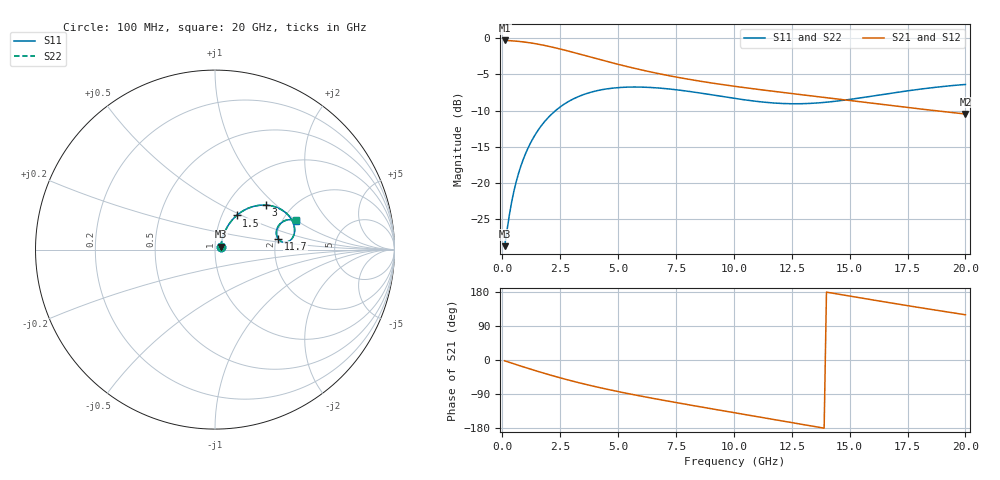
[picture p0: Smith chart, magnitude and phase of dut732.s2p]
! Touchstone file exported from HFSS 2024.1.0
!  File:  C:/UserFiles/LocalFiles/RDL_TSV_Batchsim/temp_RDL_TSV_732_1779893474.aedt
!  Generated:  11:07:30 PM May 27, 2026
!  Design:  RDL_TSV
!  Project:  temp_RDL_TSV_732_1779893474
!  Setup:  Setup1
!  Solution:  Sweep
! Variables:
!  dtsv = 6.09um
!  hbump = 3um
!  htsv = 53.31um
!  ldown = 614.92um
!  lrdl = 503.59um
!  p = 40
!  p1 = 53.52um
!  rhole = 10um
!  subl = 3859.12um
!  t = 450um
!  tdown = 3.51um
!  trdl = 3.45um
!  viad = 10um
!  wdown = 13.31um
!  wrdl = 10.98um
!  xbump = 18um
# GHz S MA R 50.000000
! Terminal data exported
! Port[1] = TM1_1_T1
! Port[2] = TM1_4_T1
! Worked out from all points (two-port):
!   200 points, 100 MHz to 20 GHz, reference 50 ohm
!   highest |S21| = -0.29 dB at 100 MHz (marker M1); lowest = -10.5 dB at 20 GHz (marker M2)
!   |S21| within 3 dB of the highest: start of sweep to 4.634 GHz
!   lowest |S11| = -28.8 dB at 100 MHz (marker M3), VSWR 1.08, Z = 53.4 + j1.67 ohm
!   |S11| at or under -10 dB: start of sweep to 2.299 GHz
!   |S22| runs from -28.8 to -6.4 dB; largest |S21 - S12| = 1.5e-14
!   S11 on the Smith chart (normalised r, x): 100 MHz: 1.07, +0.03; 1.5 GHz: 1.17, +0.47; 3 GHz: 1.49, +0.86; 11.7 GHz: 2.06, +0.28; 20 GHz: 2.36, +0.99
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0.1  0.03645 25.3  0.9672 -2.0  0.9672 -2.0  0.03645 25.3
! Gamma 0 0 0 0
! Port Impedance 50 0 50 0
0.3  0.05924 50.9  0.9645 -6.1  0.9645 -6.1  0.05924 50.9
0.4  0.07308 56.0  0.9623 -8.1  0.9623 -8.1  0.07308 56.0
0.5  0.08733 58.9  0.9596 -10.1  0.9596 -10.1  0.08732 58.9
0.7  0.1161 61.3  0.9533 -14.1  0.9533 -14.1  0.1161 61.3
1.1  0.1725 60.7  0.9364 -21.8  0.9364 -21.8  0.1725 60.7
1.5  0.2255 57.5  0.9145 -29.4  0.9145 -29.4  0.2255 57.5
2.2  0.3062 50.1  0.8667 -42.0  0.8667 -42.0  0.3062 50.1
3  0.3762 41.2  0.805 -55.2  0.805 -55.2  0.3761 41.2
3.5  0.4078 36.0  0.7662 -62.8  0.7662 -62.8  0.4077 36.0
4.2  0.4381 29.4  0.7144 -72.8  0.7144 -72.8  0.438 29.4
5.1  0.4573 22.1  0.6552 -84.6  0.6552 -84.6  0.4573 22.1
5.9  0.4603 16.8  0.6103 -94.2  0.6103 -94.2  0.4603 16.8
6.8  0.4526 12.1  0.568 -104.5  0.568 -104.5  0.4527 12.1
8.4  0.4219 6.9  0.5098 -122.0  0.5098 -122.0  0.4219 7.0
10.1  0.3828 6.2  0.4643 -139.9  0.4643 -139.9  0.3828 6.3
11.7  0.3572 9.7  0.4303 -156.8  0.4303 -156.8  0.3572 9.8
13.4  0.3554 15.8  0.3988 -174.6  0.3988 -174.6  0.3555 15.9
14.9  0.3759 20.2  0.3732 169.7  0.3732 169.7  0.3762 20.4
16.7  0.4151 22.4  0.3445 151.4  0.3445 151.4  0.4156 22.6
18.3  0.4504 21.8  0.3213 135.6  0.3213 135.6  0.4512 21.9
20  0.4799 19.6  0.2998 119.4  0.2998 119.4  0.4809 19.8
